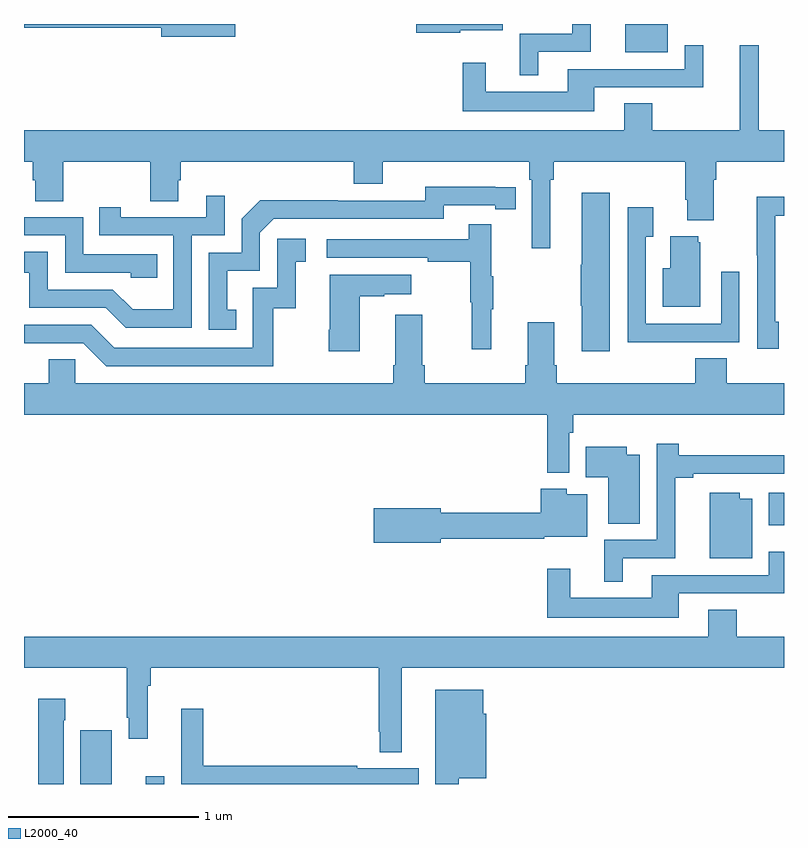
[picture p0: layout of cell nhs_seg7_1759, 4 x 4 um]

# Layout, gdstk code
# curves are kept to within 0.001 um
import gdstk
lib = gdstk.Library(unit=1e-6, precision=1e-09)
def R(c, l, rs):  # rectangles x0, y0, x1, y1
    for r in rs: c.add(gdstk.rectangle(r[:2], r[2:], *l))
def P(c, l, *ps):  # polygons
    for p in ps: c.add(gdstk.Polygon(p, *l))
L2000_40 = (2000, 40)

nhs_seg7_1759 = lib.new_cell('nhs_seg7_1759')
R(nhs_seg7_1759, L2000_40, [(231.296,1004,231.463,1004.284), (231.641,1004,231.738,1004.041), (234.92,1005.362,235,1005.532), (234.164,1007.852,234.388,1008)])
P(nhs_seg7_1759, L2000_40, [(233.295,1007.966),(233.521,1007.966),(233.521,1008),(233.064,1008),(233.064,1007.954),(233.295,1007.954)],
  [(232.111,1008),(231,1008),(231,1007.98),(231.722,1007.98),(231.722,1007.933),(232.111,1007.933)],
  [(233.707,1007.853),(233.984,1007.853),(233.984,1008),(233.886,1008),(233.886,1007.949),(233.609,1007.949),(233.609,1007.729),(233.707,1007.729)],
  [(234.001,1007.667),(234.575,1007.667),(234.575,1007.887),(234.477,1007.887),(234.477,1007.763),(233.861,1007.763),(233.861,1007.644),(233.431,1007.644),(233.431,1007.797),(233.31,1007.797),(233.31,1007.54),(234.001,1007.54)],
  [(233.77,1007.18),(233.789,1007.18),(233.789,1007.276),(234.479,1007.276),(234.479,1007.074),(234.491,1007.074),(234.491,1006.967),(234.631,1006.967),(234.631,1007.18),(234.644,1007.18),(234.644,1007.276),(235,1007.276),(235,1007.44),(234.866,1007.44),(234.866,1007.887),(234.767,1007.887),(234.767,1007.44),(234.306,1007.44),(234.306,1007.582),(234.158,1007.582),(234.158,1007.44),(231,1007.44),(231,1007.276),(231.047,1007.276),(231.047,1007.178),(231.059,1007.178),(231.059,1007.068),(231.207,1007.068),(231.207,1007.276),(231.664,1007.276),(231.664,1007.068),(231.811,1007.068),(231.811,1007.178),(231.824,1007.178),(231.824,1007.276),(232.736,1007.276),(232.736,1007.159),(232.888,1007.159),(232.888,1007.276),(233.66,1007.276),(233.66,1007.18),(233.673,1007.18),(233.673,1006.821),(233.77,1006.821)],
  [(232.118,1006.497),(232.069,1006.497),(232.069,1006.701),(232.242,1006.701),(232.242,1006.902),(232.314,1006.974),(233.208,1006.974),(233.208,1007.046),(233.48,1007.046),(233.48,1007.026),(233.588,1007.026),(233.588,1007.142),(233.112,1007.143),(233.112,1007.07),(232.652,1007.07),(232.652,1007.072),(232.244,1007.072),(232.146,1006.974),(232.146,1006.797),(231.972,1006.797),(231.972,1006.392),(232.118,1006.392)],
  [(234.082,1007.113),(233.936,1007.113),(233.936,1006.733),(233.929,1006.733),(233.929,1006.516),(233.936,1006.516),(233.936,1006.278),(234.082,1006.278)],
  [(231.882,1006.887),(232.056,1006.887),(232.056,1007.095),(231.959,1007.095),(231.959,1006.983),(231.508,1006.983),(231.508,1007.035),(231.397,1007.035),(231.397,1006.887),(231.786,1006.887),(231.786,1006.498),(231.572,1006.498),(231.468,1006.602),(231.126,1006.602),(231.126,1006.801),(231,1006.801),(231,1006.691),(231.028,1006.691),(231.028,1006.506),(231.431,1006.506),(231.536,1006.401),(231.882,1006.401)],
  [(234.973,1006.434),(234.954,1006.434),(234.954,1006.992),(235,1006.992),(235,1007.09),(234.856,1007.09),(234.856,1006.783),(234.858,1006.783),(234.858,1006.29),(234.973,1006.29)],
  [(234.449,1006.326),(234.765,1006.326),(234.765,1006.696),(234.669,1006.696),(234.669,1006.422),(234.273,1006.422),(234.273,1006.879),(234.313,1006.879),(234.313,1007.035),(234.177,1007.035),(234.177,1006.325),(234.449,1006.325)],
  [(231.701,1006.788),(231.312,1006.788),(231.312,1006.983),(231,1006.983),(231,1006.887),(231.216,1006.887),(231.216,1006.692),(231.561,1006.692),(231.561,1006.665),(231.701,1006.665)],
  [(233.459,1006.499),(233.47,1006.499),(233.47,1006.673),(233.459,1006.673),(233.459,1006.945),(233.341,1006.945),(233.341,1006.866),(232.593,1006.866),(232.593,1006.77),(233.125,1006.77),(233.125,1006.75),(233.349,1006.75),(233.349,1006.536),(233.356,1006.536),(233.356,1006.287),(233.459,1006.287)],
  [(234.559,1006.851),(234.548,1006.851),(234.548,1006.882),(234.401,1006.882),(234.401,1006.714),(234.362,1006.714),(234.362,1006.511),(234.559,1006.511)],
  [(232.312,1006.503),(232.43,1006.503),(232.43,1006.749),(232.483,1006.749),(232.483,1006.87),(232.332,1006.87),(232.332,1006.611),(232.203,1006.611),(232.203,1006.296),(231.474,1006.296),(231.354,1006.416),(231,1006.416),(231,1006.32),(231.312,1006.32),(231.432,1006.2),(232.312,1006.2)],
  [(232.768,1006.567),(232.895,1006.567),(232.895,1006.577),(233.038,1006.577),(233.038,1006.681),(232.61,1006.681),(232.61,1006.39),(232.603,1006.39),(232.603,1006.278),(232.768,1006.278)],
  [(233.871,1005.848),(233.891,1005.848),(233.891,1005.944),(235,1005.944),(235,1006.108),(234.698,1006.108),(234.698,1006.241),(234.533,1006.241),(234.533,1006.108),(233.804,1006.108),(233.804,1006.204),(233.791,1006.204),(233.791,1006.429),(233.651,1006.429),(233.651,1006.204),(233.639,1006.204),(233.639,1006.108),(233.108,1006.108),(233.108,1006.204),(233.095,1006.204),(233.095,1006.471),(232.955,1006.471),(232.955,1006.204),(232.943,1006.204),(232.943,1006.108),(231.27,1006.108),(231.27,1006.235),(231.131,1006.235),(231.131,1006.108),(231,1006.108),(231,1005.944),(233.755,1005.944),(233.755,1005.638),(233.871,1005.638)],
  [(234.151,1005.189),(234.428,1005.189),(234.428,1005.613),(234.523,1005.613),(234.523,1005.633),(235,1005.633),(235,1005.731),(234.446,1005.731),(234.446,1005.79),(234.33,1005.79),(234.33,1005.285),(234.053,1005.285),(234.053,1005.065),(234.151,1005.065)],
  [(234.241,1005.733),(234.172,1005.733),(234.172,1005.775),(233.956,1005.775),(233.956,1005.614),(234.074,1005.614),(234.074,1005.37),(234.241,1005.37)],
  [(233.194,1005.292),(233.739,1005.292),(233.739,1005.302),(233.965,1005.302),(233.965,1005.526),(233.856,1005.526),(233.856,1005.553),(233.72,1005.553),(233.72,1005.428),(233.194,1005.428),(233.194,1005.452),(232.842,1005.452),(232.842,1005.269),(233.194,1005.269)],
  [(234.832,1005.502),(234.766,1005.502),(234.766,1005.532),(234.608,1005.532),(234.608,1005.188),(234.832,1005.188)],
  [(234.445,1005.003),(235,1005.003),(235,1005.223),(234.921,1005.223),(234.921,1005.099),(234.305,1005.099),(234.305,1004.98),(233.875,1004.98),(233.875,1005.133),(233.754,1005.133),(233.754,1004.876),(234.445,1004.876)],
  [(232.987,1004.612),(235,1004.612),(235,1004.776),(234.75,1004.776),(234.75,1004.918),(234.602,1004.918),(234.602,1004.776),(231,1004.776),(231,1004.612),(231.54,1004.612),(231.54,1004.35),(231.552,1004.35),(231.552,1004.238),(231.65,1004.238),(231.65,1004.516),(231.668,1004.516),(231.668,1004.612),(232.866,1004.612),(232.866,1004.275),(232.872,1004.275),(232.872,1004.168),(232.987,1004.168)],
  [(233.287,1004.03),(233.434,1004.03),(233.434,1004.37),(233.416,1004.37),(233.416,1004.497),(233.165,1004.497),(233.165,1004),(233.287,1004)],
  [(231.208,1004.336),(231.216,1004.336),(231.216,1004.449),(231.074,1004.449),(231.074,1004),(231.208,1004)],
  [(233.077,1004.083),(232.754,1004.083),(232.754,1004.096),(231.944,1004.096),(231.944,1004.395),(231.827,1004.395),(231.827,1004.073),(231.828,1004.073),(231.828,1004),(233.077,1004)])

lib.write_gds('nhs_seg7_1759.gds')
